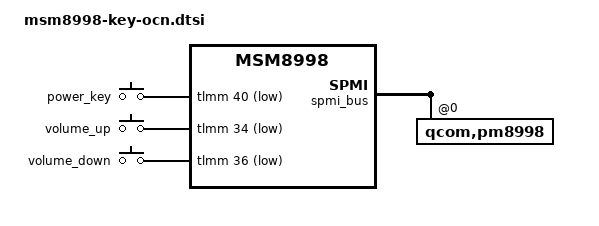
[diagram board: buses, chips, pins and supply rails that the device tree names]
&soc {
	/delete-node/ gpio_keys;

	gpio_keys {
		compatible = "gpio-keys";
		input-name = "gpio-keys";
		status = "okay";
		pinctrl-names = "tlmm_gpio_key_active","tlmm_gpio_key_suspend";
		pinctrl-0 = <&gpio_key_active>;
		pinctrl-1 = <&gpio_key_suspend>;

		power_key {
			label = "power_key";
			gpios = <&tlmm 40 0x1>;
			linux,input-type = <1>;
			linux,code = <116>;
			gpio-key,wakeup;
			debounce-interval = <20>;
		};

		vol_up {
			label = "volume_up";
			gpios = <&tlmm 34 0x1>;
			linux,input-type = <1>;
			linux,code = <115>;
			gpio-key,wakeup;
			debounce-interval = <20>;
		};

		vol_down {
			label = "volume_down";
			gpios = <&tlmm 36 0x1>;
			linux,input-type = <1>;
			linux,code = <114>;
			gpio-key,wakeup;
			debounce-interval = <20>;
		};
	};

	keyled {
		compatible	= "keyled";
		key_down_delay	= <3000>;
		keys_down	= <116 114 0>;
	};
};

&spmi_bus {
	qcom,pm8998@0 {
		qcom,power-on@800 {
			/delete-property/ qcom,report-key;
		};
	};
};

&tlmm {
	gpio_key {
		gpio_key_active: gpio_key_active {
			mux {
				pins = "gpio34", "gpio36", "gpio40";
				function = "gpio";
			};
			config {
				pins = "gpio34", "gpio36", "gpio40";
				drive-strength = <2>;
				bias-disable;
			};
		};
		gpio_key_suspend: gpio_key_suspend {
			mux {
				pins = "gpio34", "gpio36", "gpio40";
				function = "gpio";
			};
			config {
				pins = "gpio34", "gpio36", "gpio40";
				drive-strength = <2>;
				bias-disable;
			};
		};
	};
};
